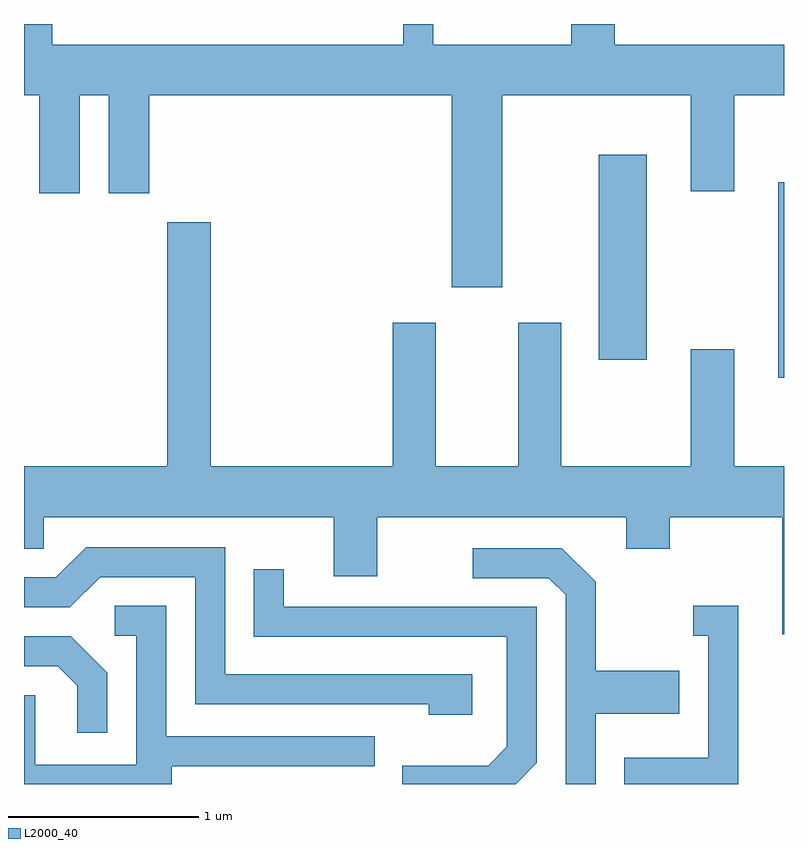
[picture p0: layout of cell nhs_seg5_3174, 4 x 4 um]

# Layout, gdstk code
import gdstk
lib = gdstk.Library(unit=1e-6, precision=1e-09)
def R(c, l, rs):  # rectangles x0, y0, x1, y1
    for r in rs: c.add(gdstk.rectangle(r[:2], r[2:], *l))
def P(c, l, *ps):  # polygons
    for p in ps: c.add(gdstk.Polygon(p, *l))
L2000_40 = (2000, 40)

nhs_seg5_3174 = lib.new_cell('nhs_seg5_3174')
R(nhs_seg5_3174, L2000_40, [(283.581,1444.211,283.611,1445.239), (282.636,1444.306,282.889,1445.384)])
P(nhs_seg5_3174, L2000_40, [(282.129,1445.696),(283.121,1445.696),(283.121,1445.191),(283.349,1445.191),(283.349,1445.696),(283.611,1445.696),(283.611,1445.964),(282.719,1445.964),(282.719,1446.072),(282.491,1446.072),(282.491,1445.964),(281.764,1445.964),(281.764,1446.072),(281.606,1446.072),(281.606,1445.964),(279.759,1445.964),(279.759,1446.072),(279.611,1446.072),(279.611,1445.696),(279.691,1445.696),(279.691,1445.181),(279.904,1445.181),(279.904,1445.696),(280.056,1445.696),(280.056,1445.181),(280.269,1445.181),(280.269,1445.696),(281.861,1445.696),(281.861,1444.686),(282.129,1444.686)],
  [(283.611,1443.744),(283.349,1443.744),(283.349,1444.359),(283.121,1444.359),(283.121,1443.744),(282.439,1443.744),(282.439,1444.499),(282.211,1444.499),(282.211,1443.744),(281.779,1443.744),(281.779,1444.499),(281.551,1444.499),(281.551,1443.744),(280.594,1443.744),(280.594,1445.029),(280.366,1445.029),(280.366,1443.744),(279.611,1443.744),(279.611,1443.311),(279.714,1443.311),(279.714,1443.476),(281.241,1443.476),(281.241,1443.166),(281.469,1443.166),(281.469,1443.476),(282.781,1443.476),(282.781,1443.311),(283.009,1443.311),(283.009,1443.476),(283.601,1443.476),(283.601,1442.861),(283.611,1442.861)],
  [(281.969,1442.649),(280.669,1442.649),(280.669,1443.319),(279.939,1443.319),(279.779,1443.159),(279.611,1443.159),(279.611,1443.001),(279.852,1443.001),(280.012,1443.161),(280.511,1443.161),(280.511,1442.491),(281.741,1442.491),(281.741,1442.436),(281.969,1442.436)],
  [(282.619,1442.441),(283.059,1442.441),(283.059,1442.669),(282.619,1442.669),(282.619,1443.137),(282.442,1443.314),(281.973,1443.314),(281.973,1443.156),(282.374,1443.156),(282.461,1443.069),(282.461,1442.072),(282.619,1442.072)],
  [(282.309,1442.184),(282.309,1443.004),(280.979,1443.004),(280.979,1443.203),(280.821,1443.203),(280.821,1442.846),(282.151,1442.846),(282.151,1442.267),(282.054,1442.169),(281.601,1442.169),(281.601,1442.072),(282.198,1442.072)],
  [(283.369,1443.009),(283.133,1443.009),(283.133,1442.851),(283.211,1442.851),(283.211,1442.209),(282.771,1442.209),(282.771,1442.072),(283.369,1442.072)],
  [(280.389,1442.166),(281.458,1442.166),(281.458,1442.324),(280.359,1442.324),(280.359,1443.009),(280.088,1443.009),(280.088,1442.851),(280.201,1442.851),(280.201,1442.174),(279.669,1442.174),(279.669,1442.539),(279.611,1442.539),(279.611,1442.072),(280.389,1442.072)],
  [(280.049,1442.657),(279.857,1442.849),(279.611,1442.849),(279.611,1442.691),(279.789,1442.691),(279.891,1442.589),(279.891,1442.343),(280.049,1442.343)])

lib.write_gds('nhs_seg5_3174.gds')
